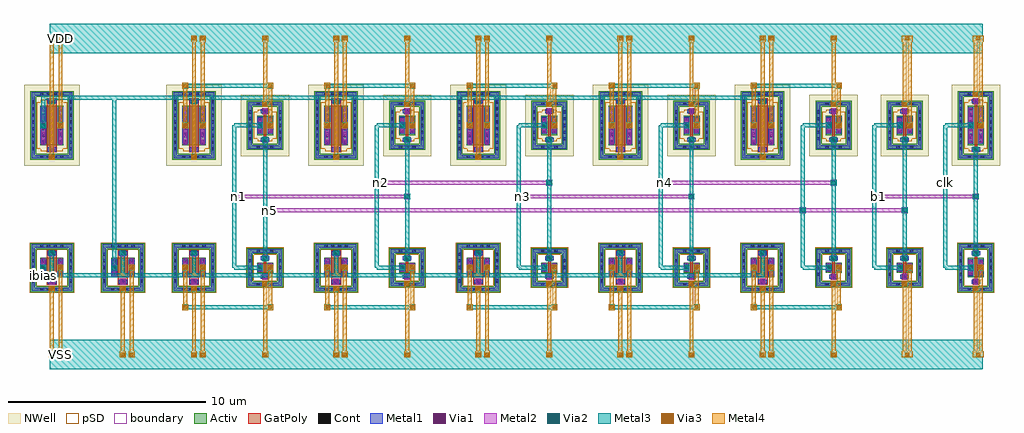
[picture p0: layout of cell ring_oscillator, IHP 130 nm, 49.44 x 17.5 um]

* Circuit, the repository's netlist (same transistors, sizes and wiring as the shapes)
** SPDX-FileCopyrightText: 2026 Davide Schiavone
** SPDX-License-Identifier: Apache-2.0 WITH SHL-2.1
**
** Current-starved ring oscillator (5 stages) — ihp-sg13g2, schematic-level (pre-layout).
** Frequency is set by a bias current injected at node 'ibias'. Higher current =>
** higher frequency (monotonic). 'ibias' is the NMOS-diode node (Vbn); a PMOS mirror
** derives Vbp so each stage is starved symmetrically on both rails.
**
** Ports:  VDD VSS ibias clk
**   ibias : current input (sink to VSS through the internal NMOS diode); = Vbn gate
**   clk   : buffered, full-swing oscillator output

*------------------------------------------------------------------------------
* One current-starved inverter stage.
*   VDD -[Mcp:gate=vbp]- pp -[Mp:gate=in]- out -[Mn:gate=in]- nn -[Mcn:gate=vbn]- VSS
.subckt cs_stage VDD VSS vbp vbn in out
XMcp pp  vbp VDD VDD sg13_lv_pmos w=2u   l=0.5u  ng=1
XMp  out in  pp  VDD sg13_lv_pmos w=1u   l=0.13u ng=1
XMn  out in  nn  VSS sg13_lv_nmos w=0.5u l=0.13u ng=1
XMcn nn  vbn VSS VSS sg13_lv_nmos w=1u   l=0.5u  ng=1
.ends cs_stage

*------------------------------------------------------------------------------
.subckt ring_oscillator VDD VSS ibias clk

* --- Bias generation ---
* NMOS diode: the injected ibias flows from node 'ibias' to VSS, setting Vbn(=ibias).
XMbn  ibias ibias VSS VSS sg13_lv_nmos w=1u l=0.5u ng=1
* NMOS mirror copies ibias and pulls it through a PMOS diode to set Vbp.
XMmir vbp   ibias VSS VSS sg13_lv_nmos w=1u l=0.5u ng=1
XMbp  vbp   vbp   VDD VDD sg13_lv_pmos w=2u l=0.5u ng=1

* --- 5 current-starved inverter stages (odd count => oscillates) ---
Xstg1 VDD VSS vbp ibias n5 n1 cs_stage
Xstg2 VDD VSS vbp ibias n1 n2 cs_stage
Xstg3 VDD VSS vbp ibias n2 n3 cs_stage
Xstg4 VDD VSS vbp ibias n3 n4 cs_stage
Xstg5 VDD VSS vbp ibias n4 n5 cs_stage

* --- Output buffer (full strength, not starved) to square up the clock ---
XMb1p b1  n5 VDD VDD sg13_lv_pmos w=1u   l=0.13u ng=1
XMb1n b1  n5 VSS VSS sg13_lv_nmos w=0.5u l=0.13u ng=1
XMb2p clk b1 VDD VDD sg13_lv_pmos w=2u   l=0.13u ng=1
XMb2n clk b1 VSS VSS sg13_lv_nmos w=1u   l=0.13u ng=1

.ends ring_oscillator

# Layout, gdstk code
import gdstk
lib = gdstk.Library(unit=1e-6, precision=1e-09)
def R(c, l, rs):  # rectangles x0, y0, x1, y1
    for r in rs: c.add(gdstk.rectangle(r[:2], r[2:], *l))
def A(c, l, x, y, w, h, nx, ny, dx, dy):  # array of equal rectangles
    R(c, l, [(x+i*dx, y+j*dy, x+i*dx+w, y+j*dy+h) for i in range(nx) for j in range(ny)])
Activ = (1, 0)
GatPoly = (5, 0)
Cont = (6, 0)
Metal1 = (8, 0)
Metal2 = (10, 0)
pSD = (14, 0)
Via1 = (19, 0)
Via2 = (29, 0)
Metal3 = (30, 0)
NWell = (31, 0)
Via3 = (49, 0)
Metal4 = (50, 0)
boundary = (189, 4)

sg13_lv_nmos_9r8nqu = lib.new_cell('sg13_lv_nmos_9R8NQU')
R(sg13_lv_nmos_9r8nqu, Activ, [(-1.1,-1.24,1.1,-0.94), (-1.1,-0.94,-0.8,0.94), (0.8,-0.94,1.1,0.94), (-0.59,-0.5,0.59,0.5), (-1.1,0.94,1.1,1.24)])
R(sg13_lv_nmos_9r8nqu, GatPoly, [(-0.25,-0.87,0.25,0.87)])
A(sg13_lv_nmos_9r8nqu, Cont, -0.59, -1.17, 0.16, 0.16, 4, 2, 0.34, 2.18)
A(sg13_lv_nmos_9r8nqu, Cont, -1.03, -0.76, 0.16, 0.16, 1, 5, 0, 0.34)
A(sg13_lv_nmos_9r8nqu, Cont, 0.87, -0.76, 0.16, 0.16, 1, 5, 0, 0.34)
A(sg13_lv_nmos_9r8nqu, Cont, -0.52, -0.42, 0.16, 0.16, 1, 3, 0, 0.34)
A(sg13_lv_nmos_9r8nqu, Cont, 0.36, -0.42, 0.16, 0.16, 1, 3, 0, 0.34)
R(sg13_lv_nmos_9r8nqu, Cont, [(-0.08,-0.8,0.08,-0.64), (-0.08,0.64,0.08,0.8)])
R(sg13_lv_nmos_9r8nqu, Metal1, [(-1.03,-1.17,1.03,-1.01), (-1.03,-1.01,-0.87,1.01), (0.87,-1.01,1.03,1.01), (-0.215,-0.825,0.215,-0.615), (-0.59,-0.43,-0.29,0.43), (0.29,-0.43,0.59,0.43), (-0.215,0.615,0.215,0.825), (-1.03,1.01,1.03,1.17)])
R(sg13_lv_nmos_9r8nqu, Metal2, [(-0.14,-0.865,0.14,-0.575), (-0.54,-0.47,-0.34,0.47), (0.34,-0.47,0.54,0.47), (-0.14,0.575,0.14,0.865)])
R(sg13_lv_nmos_9r8nqu, pSD, [(-1.13,-1.27,1.13,-0.91), (-1.13,-0.91,-0.77,0.91), (0.77,-0.91,1.13,0.91), (-1.13,0.91,1.13,1.27)])
R(sg13_lv_nmos_9r8nqu, Via1, [(-0.095,-0.815,0.095,-0.625), (-0.535,-0.3,-0.345,-0.11), (0.345,-0.3,0.535,-0.11), (-0.535,0.11,-0.345,0.3), (0.345,0.11,0.535,0.3), (-0.095,0.625,0.095,0.815)])
R(sg13_lv_nmos_9r8nqu, boundary, [(-0.95,-1.09,0.95,1.09)])
sg13_lv_nmos_9r8nqu.add(gdstk.Label('B', (0,-1.09), layer=8, texttype=25))
sg13_lv_nmos_9r8nqu.add(gdstk.Label('D', (-0.44,0), layer=8, texttype=25))
sg13_lv_nmos_9r8nqu.add(gdstk.Label('S', (0.44,0), layer=8, texttype=25))
sg13_lv_nmos_9r8nqu.add(gdstk.Label('G', (0,0.72), layer=8, texttype=25))

sg13_lv_nmos_gclu96 = lib.new_cell('sg13_lv_nmos_GCLU96')
R(sg13_lv_nmos_gclu96, Activ, [(-0.915,-0.99,0.915,-0.69), (-0.915,-0.69,-0.615,0.69), (0.615,-0.69,0.915,0.69), (-0.405,-0.25,0.405,0.25), (-0.915,0.69,0.915,0.99)])
R(sg13_lv_nmos_gclu96, GatPoly, [(-0.15,-0.62,0.15,-0.32), (-0.065,-0.32,0.065,0.32), (-0.15,0.32,0.15,0.62)])
A(sg13_lv_nmos_gclu96, Cont, -0.42, -0.92, 0.16, 0.16, 3, 2, 0.34, 1.68)
A(sg13_lv_nmos_gclu96, Cont, -0.845, -0.08, 0.16, 0.16, 4, 1, 0.51, 0)
R(sg13_lv_nmos_gclu96, Cont, [(-0.08,-0.55,0.08,-0.39), (-0.845,-0.42,-0.685,-0.26), (0.685,-0.42,0.845,-0.26), (-0.845,0.26,-0.685,0.42), (0.685,0.26,0.845,0.42), (-0.08,0.39,0.08,0.55)])
R(sg13_lv_nmos_gclu96, Metal1, [(-0.845,-0.92,0.845,-0.76), (-0.845,-0.76,-0.685,0.76), (0.685,-0.76,0.845,0.76), (-0.215,-0.575,0.215,-0.365), (-0.405,-0.18,-0.105,0.18), (0.105,-0.18,0.405,0.18), (-0.215,0.365,0.215,0.575), (-0.845,0.76,0.845,0.92)])
R(sg13_lv_nmos_gclu96, Metal2, [(-0.1,-0.615,0.1,-0.325), (-0.355,-0.22,-0.155,0.22), (0.155,-0.22,0.355,0.22), (-0.1,0.325,0.1,0.615)])
R(sg13_lv_nmos_gclu96, pSD, [(-0.945,-1.02,0.945,-0.66), (-0.945,-0.66,-0.585,0.66), (0.585,-0.66,0.945,0.66), (-0.945,0.66,0.945,1.02)])
R(sg13_lv_nmos_gclu96, Via1, [(-0.095,-0.565,0.095,-0.375), (-0.35,-0.095,-0.16,0.095), (0.16,-0.095,0.35,0.095), (-0.095,0.375,0.095,0.565)])
R(sg13_lv_nmos_gclu96, boundary, [(-0.765,-0.84,0.765,0.84)])
sg13_lv_nmos_gclu96.add(gdstk.Label('B', (0,-0.84), layer=8, texttype=25))
sg13_lv_nmos_gclu96.add(gdstk.Label('D', (-0.255,0), layer=8, texttype=25))
sg13_lv_nmos_gclu96.add(gdstk.Label('S', (0.255,0), layer=8, texttype=25))
sg13_lv_nmos_gclu96.add(gdstk.Label('G', (0,0.47), layer=8, texttype=25))

sg13_lv_nmos_5a8msm = lib.new_cell('sg13_lv_nmos_5A8MSM')
R(sg13_lv_nmos_5a8msm, Activ, [(-0.915,-1.24,0.915,-0.94), (-0.915,-0.94,-0.615,0.94), (0.615,-0.94,0.915,0.94), (-0.405,-0.5,0.405,0.5), (-0.915,0.94,0.915,1.24)])
R(sg13_lv_nmos_5a8msm, GatPoly, [(-0.15,-0.87,0.15,-0.57), (-0.065,-0.57,0.065,0.57), (-0.15,0.57,0.15,0.87)])
A(sg13_lv_nmos_5a8msm, Cont, -0.42, -1.17, 0.16, 0.16, 3, 2, 0.34, 2.18)
A(sg13_lv_nmos_5a8msm, Cont, -0.845, -0.42, 0.16, 0.16, 4, 3, 0.51, 0.34)
R(sg13_lv_nmos_5a8msm, Cont, [(-0.08,-0.8,0.08,-0.64), (-0.845,-0.76,-0.685,-0.6), (0.685,-0.76,0.845,-0.6), (-0.845,0.6,-0.685,0.76), (0.685,0.6,0.845,0.76), (-0.08,0.64,0.08,0.8)])
R(sg13_lv_nmos_5a8msm, Metal1, [(-0.845,-1.17,0.845,-1.01), (-0.845,-1.01,-0.685,1.01), (0.685,-1.01,0.845,1.01), (-0.215,-0.825,0.215,-0.615), (-0.385,-0.43,-0.125,0.43), (0.125,-0.43,0.385,0.43), (-0.215,0.615,0.215,0.825), (-0.845,1.01,0.845,1.17)])
R(sg13_lv_nmos_5a8msm, Metal2, [(-0.1,-0.865,0.1,-0.575), (-0.355,-0.365,-0.155,0.365), (0.155,-0.365,0.355,0.365), (-0.1,0.575,0.1,0.865)])
R(sg13_lv_nmos_5a8msm, pSD, [(-0.945,-1.27,0.945,-0.91), (-0.945,-0.91,-0.585,0.91), (0.585,-0.91,0.945,0.91), (-0.945,0.91,0.945,1.27)])
R(sg13_lv_nmos_5a8msm, Via1, [(-0.095,-0.815,0.095,-0.625), (-0.35,-0.3,-0.16,-0.11), (0.16,-0.3,0.35,-0.11), (-0.35,0.11,-0.16,0.3), (0.16,0.11,0.35,0.3), (-0.095,0.625,0.095,0.815)])
R(sg13_lv_nmos_5a8msm, boundary, [(-0.765,-1.09,0.765,1.09)])
sg13_lv_nmos_5a8msm.add(gdstk.Label('B', (0,-1.09), layer=8, texttype=25))
sg13_lv_nmos_5a8msm.add(gdstk.Label('D', (-0.255,0), layer=8, texttype=25))
sg13_lv_nmos_5a8msm.add(gdstk.Label('S', (0.255,0), layer=8, texttype=25))
sg13_lv_nmos_5a8msm.add(gdstk.Label('G', (0,0.72), layer=8, texttype=25))

sg13_lv_pmos_65lepc = lib.new_cell('sg13_lv_pmos_65LEPC')
R(sg13_lv_pmos_65lepc, Activ, [(-1.1,-1.74,1.1,-1.44), (-1.1,-1.44,-0.8,1.44), (0.8,-1.44,1.1,1.44), (-0.59,-1,0.59,1), (-1.1,1.44,1.1,1.74)])
R(sg13_lv_pmos_65lepc, GatPoly, [(-0.25,-1.37,0.25,1.37)])
A(sg13_lv_pmos_65lepc, Cont, -0.59, -1.67, 0.16, 0.16, 4, 2, 0.34, 3.18)
A(sg13_lv_pmos_65lepc, Cont, -1.03, -1.27, 0.16, 0.16, 1, 8, 0, 0.34)
A(sg13_lv_pmos_65lepc, Cont, 0.87, -1.27, 0.16, 0.16, 1, 8, 0, 0.34)
A(sg13_lv_pmos_65lepc, Cont, -0.52, -0.93, 0.16, 0.16, 1, 6, 0, 0.34)
A(sg13_lv_pmos_65lepc, Cont, 0.36, -0.93, 0.16, 0.16, 1, 6, 0, 0.34)
R(sg13_lv_pmos_65lepc, Cont, [(-0.08,-1.3,0.08,-1.14), (-0.08,1.14,0.08,1.3)])
R(sg13_lv_pmos_65lepc, Metal1, [(-1.03,-1.67,1.03,-1.51), (-1.03,-1.51,-0.87,1.51), (0.87,-1.51,1.03,1.51), (-0.215,-1.325,0.215,-1.115), (-0.59,-0.93,-0.29,0.93), (0.29,-0.93,0.59,0.93), (-0.215,1.115,0.215,1.325), (-1.03,1.51,1.03,1.67)])
R(sg13_lv_pmos_65lepc, Metal2, [(-0.14,-1.365,0.14,-1.075), (-0.54,-0.97,-0.34,0.97), (0.34,-0.97,0.54,0.97), (-0.14,1.075,0.14,1.365)])
R(sg13_lv_pmos_65lepc, pSD, [(-0.55,-1.3,0.55,-1.18), (-0.77,-1.18,0.77,1.18), (-0.55,1.18,0.55,1.3)])
A(sg13_lv_pmos_65lepc, Via1, -0.535, -0.915, 0.19, 0.19, 1, 5, 0, 0.41)
A(sg13_lv_pmos_65lepc, Via1, 0.345, -0.915, 0.19, 0.19, 1, 5, 0, 0.41)
R(sg13_lv_pmos_65lepc, Via1, [(-0.095,-1.315,0.095,-1.125), (-0.095,1.125,0.095,1.315)])
R(sg13_lv_pmos_65lepc, NWell, [(-1.41,-2.05,1.41,2.05)])
R(sg13_lv_pmos_65lepc, boundary, [(-0.95,-1.59,0.95,1.59)])
sg13_lv_pmos_65lepc.add(gdstk.Label('B', (0,-1.59), layer=8, texttype=25))
sg13_lv_pmos_65lepc.add(gdstk.Label('D', (-0.44,0), layer=8, texttype=25))
sg13_lv_pmos_65lepc.add(gdstk.Label('S', (0.44,0), layer=8, texttype=25))
sg13_lv_pmos_65lepc.add(gdstk.Label('G', (0,1.22), layer=8, texttype=25))

sg13_lv_pmos_2m8tcd = lib.new_cell('sg13_lv_pmos_2M8TCD')
R(sg13_lv_pmos_2m8tcd, Activ, [(-0.915,-1.24,0.915,-0.94), (-0.915,-0.94,-0.615,0.94), (0.615,-0.94,0.915,0.94), (-0.405,-0.5,0.405,0.5), (-0.915,0.94,0.915,1.24)])
R(sg13_lv_pmos_2m8tcd, GatPoly, [(-0.15,-0.87,0.15,-0.57), (-0.065,-0.57,0.065,0.57), (-0.15,0.57,0.15,0.87)])
A(sg13_lv_pmos_2m8tcd, Cont, -0.42, -1.17, 0.16, 0.16, 3, 2, 0.34, 2.18)
A(sg13_lv_pmos_2m8tcd, Cont, -0.845, -0.42, 0.16, 0.16, 4, 3, 0.51, 0.34)
R(sg13_lv_pmos_2m8tcd, Cont, [(-0.08,-0.8,0.08,-0.64), (-0.845,-0.76,-0.685,-0.6), (0.685,-0.76,0.845,-0.6), (-0.845,0.6,-0.685,0.76), (0.685,0.6,0.845,0.76), (-0.08,0.64,0.08,0.8)])
R(sg13_lv_pmos_2m8tcd, Metal1, [(-0.845,-1.17,0.845,-1.01), (-0.845,-1.01,-0.685,1.01), (0.685,-1.01,0.845,1.01), (-0.215,-0.825,0.215,-0.615), (-0.385,-0.43,-0.125,0.43), (0.125,-0.43,0.385,0.43), (-0.215,0.615,0.215,0.825), (-0.845,1.01,0.845,1.17)])
R(sg13_lv_pmos_2m8tcd, Metal2, [(-0.1,-0.865,0.1,-0.575), (-0.355,-0.365,-0.155,0.365), (0.155,-0.365,0.355,0.365), (-0.1,0.575,0.1,0.865)])
R(sg13_lv_pmos_2m8tcd, pSD, [(-0.365,-0.8,0.365,-0.68), (-0.585,-0.68,0.585,0.68), (-0.365,0.68,0.365,0.8)])
R(sg13_lv_pmos_2m8tcd, Via1, [(-0.095,-0.815,0.095,-0.625), (-0.35,-0.3,-0.16,-0.11), (0.16,-0.3,0.35,-0.11), (-0.35,0.11,-0.16,0.3), (0.16,0.11,0.35,0.3), (-0.095,0.625,0.095,0.815)])
R(sg13_lv_pmos_2m8tcd, NWell, [(-1.225,-1.55,1.225,1.55)])
R(sg13_lv_pmos_2m8tcd, boundary, [(-0.765,-1.09,0.765,1.09)])
sg13_lv_pmos_2m8tcd.add(gdstk.Label('B', (0,-1.09), layer=8, texttype=25))
sg13_lv_pmos_2m8tcd.add(gdstk.Label('D', (-0.255,0), layer=8, texttype=25))
sg13_lv_pmos_2m8tcd.add(gdstk.Label('S', (0.255,0), layer=8, texttype=25))
sg13_lv_pmos_2m8tcd.add(gdstk.Label('G', (0,0.72), layer=8, texttype=25))

sg13_lv_pmos_nc374q = lib.new_cell('sg13_lv_pmos_NC374Q')
R(sg13_lv_pmos_nc374q, Activ, [(-0.915,-1.74,0.915,-1.44), (-0.915,-1.44,-0.615,1.44), (0.615,-1.44,0.915,1.44), (-0.405,-1,0.405,1), (-0.915,1.44,0.915,1.74)])
R(sg13_lv_pmos_nc374q, GatPoly, [(-0.15,-1.37,0.15,-1.07), (-0.065,-1.07,0.065,1.07), (-0.15,1.07,0.15,1.37)])
A(sg13_lv_pmos_nc374q, Cont, -0.42, -1.67, 0.16, 0.16, 3, 2, 0.34, 3.18)
A(sg13_lv_pmos_nc374q, Cont, -0.845, -0.93, 0.16, 0.16, 4, 6, 0.51, 0.34)
R(sg13_lv_pmos_nc374q, Cont, [(-0.08,-1.3,0.08,-1.14), (-0.845,-1.27,-0.685,-1.11), (0.685,-1.27,0.845,-1.11), (-0.845,1.11,-0.685,1.27), (0.685,1.11,0.845,1.27), (-0.08,1.14,0.08,1.3)])
R(sg13_lv_pmos_nc374q, Metal1, [(-0.845,-1.67,0.845,-1.51), (-0.845,-1.51,-0.685,1.51), (0.685,-1.51,0.845,1.51), (-0.215,-1.325,0.215,-1.115), (-0.385,-0.93,-0.125,0.93), (0.125,-0.93,0.385,0.93), (-0.215,1.115,0.215,1.325), (-0.845,1.51,0.845,1.67)])
R(sg13_lv_pmos_nc374q, Metal2, [(-0.1,-1.365,0.1,-1.075), (-0.355,-0.865,-0.155,0.865), (0.155,-0.865,0.355,0.865), (-0.1,1.075,0.1,1.365)])
R(sg13_lv_pmos_nc374q, pSD, [(-0.365,-1.3,0.365,-1.18), (-0.585,-1.18,0.585,1.18), (-0.365,1.18,0.365,1.3)])
A(sg13_lv_pmos_nc374q, Via1, -0.35, -0.71, 0.19, 0.19, 1, 4, 0, 0.41)
A(sg13_lv_pmos_nc374q, Via1, 0.16, -0.71, 0.19, 0.19, 1, 4, 0, 0.41)
R(sg13_lv_pmos_nc374q, Via1, [(-0.095,-1.315,0.095,-1.125), (-0.095,1.125,0.095,1.315)])
R(sg13_lv_pmos_nc374q, NWell, [(-1.225,-2.05,1.225,2.05)])
R(sg13_lv_pmos_nc374q, boundary, [(-0.765,-1.59,0.765,1.59)])
sg13_lv_pmos_nc374q.add(gdstk.Label('B', (0,-1.59), layer=8, texttype=25))
sg13_lv_pmos_nc374q.add(gdstk.Label('D', (-0.255,0), layer=8, texttype=25))
sg13_lv_pmos_nc374q.add(gdstk.Label('S', (0.255,0), layer=8, texttype=25))
sg13_lv_pmos_nc374q.add(gdstk.Label('G', (0,1.22), layer=8, texttype=25))

ring_oscillator = lib.new_cell('ring_oscillator')
A(ring_oscillator, Metal1, -0.15, -4.84, 0.3, 0.3, 3, 2, 3.6, 1.81)
A(ring_oscillator, Metal1, 14.25, -4.84, 0.3, 0.3, 4, 2, 7.2, 1.81)
A(ring_oscillator, Metal1, 10.65, -4.59, 0.3, 0.3, 5, 2, 7.2, 1.31)
A(ring_oscillator, Metal1, -0.15, 1.86, 0.3, 0.3, 6, 2, 7.2, 2.81)
A(ring_oscillator, Metal1, 10.65, 2.73, 0.3, 0.3, 5, 2, 7.2, 1.81)
R(ring_oscillator, Metal1, [(46.65,-4.84,46.95,-4.54), (43.05,-4.59,43.35,-4.29), (-0.59,-3.75,-0.29,-3.45), (0.29,-3.75,0.59,-3.45), (3.01,-3.75,3.31,-3.45), (3.89,-3.75,4.19,-3.45), (6.61,-3.75,6.91,-3.45), (7.49,-3.75,7.79,-3.45), (10.395,-3.75,10.695,-3.45), (10.905,-3.75,11.205,-3.45), (13.81,-3.75,14.11,-3.45), (14.69,-3.75,14.99,-3.45), (17.595,-3.75,17.895,-3.45), (18.105,-3.75,18.405,-3.45), (21.01,-3.75,21.31,-3.45), (21.89,-3.75,22.19,-3.45), (24.795,-3.75,25.095,-3.45), (25.305,-3.75,25.605,-3.45), (28.21,-3.75,28.51,-3.45), (29.09,-3.75,29.39,-3.45), (31.995,-3.75,32.295,-3.45), (32.505,-3.75,32.805,-3.45), (35.41,-3.75,35.71,-3.45), (36.29,-3.75,36.59,-3.45), (39.195,-3.75,39.495,-3.45), (39.705,-3.75,40.005,-3.45), (42.795,-3.75,43.095,-3.45), (43.305,-3.75,43.605,-3.45), (46.395,-3.75,46.695,-3.45), (46.905,-3.75,47.205,-3.45), (43.05,-3.28,43.35,-2.98), (46.65,-3.03,46.95,-2.73), (46.65,2.23,46.95,2.53), (43.05,2.73,43.35,3.03), (-0.59,3.45,-0.29,3.75), (0.29,3.45,0.59,3.75), (6.61,3.45,6.91,3.75), (7.49,3.45,7.79,3.75), (10.395,3.45,10.695,3.75), (10.905,3.45,11.205,3.75), (13.81,3.45,14.11,3.75), (14.69,3.45,14.99,3.75), (17.595,3.45,17.895,3.75), (18.105,3.45,18.405,3.75), (21.01,3.45,21.31,3.75), (21.89,3.45,22.19,3.75), (24.795,3.45,25.095,3.75), (25.305,3.45,25.605,3.75), (28.21,3.45,28.51,3.75), (29.09,3.45,29.39,3.75), (31.995,3.45,32.295,3.75), (32.505,3.45,32.805,3.75), (35.41,3.45,35.71,3.75), (36.29,3.45,36.59,3.75), (39.195,3.45,39.495,3.75), (39.705,3.45,40.005,3.75), (42.795,3.45,43.095,3.75), (43.305,3.45,43.605,3.75), (46.395,3.45,46.695,3.75), (46.905,3.45,47.205,3.75), (43.05,4.54,43.35,4.84), (46.65,5.04,46.95,5.34)])
A(ring_oscillator, Metal2, -0.15, -4.84, 0.3, 0.3, 3, 2, 3.6, 1.81)
A(ring_oscillator, Metal2, 14.25, -4.84, 0.3, 0.3, 4, 2, 7.2, 1.81)
A(ring_oscillator, Metal2, 10.65, -4.59, 0.3, 0.3, 5, 2, 7.2, 1.31)
A(ring_oscillator, Metal2, -0.15, 1.86, 0.3, 0.3, 6, 2, 7.2, 2.81)
A(ring_oscillator, Metal2, 10.65, 2.73, 0.3, 0.3, 5, 2, 7.2, 1.81)
R(ring_oscillator, Metal2, [(46.65,-4.84,46.95,-4.54), (43.05,-4.59,43.35,-4.29), (-0.59,-3.75,-0.29,-3.45), (0.29,-3.75,0.59,-3.45), (3.01,-3.75,3.31,-3.45), (3.89,-3.75,4.19,-3.45), (6.61,-3.75,6.91,-3.45), (7.49,-3.75,7.79,-3.45), (10.395,-3.75,10.695,-3.45), (10.905,-3.75,11.205,-3.45), (13.81,-3.75,14.11,-3.45), (14.69,-3.75,14.99,-3.45), (17.595,-3.75,17.895,-3.45), (18.105,-3.75,18.405,-3.45), (21.01,-3.75,21.31,-3.45), (21.89,-3.75,22.19,-3.45), (24.795,-3.75,25.095,-3.45), (25.305,-3.75,25.605,-3.45), (28.21,-3.75,28.51,-3.45), (29.09,-3.75,29.39,-3.45), (31.995,-3.75,32.295,-3.45), (32.505,-3.75,32.805,-3.45), (35.41,-3.75,35.71,-3.45), (36.29,-3.75,36.59,-3.45), (39.195,-3.75,39.495,-3.45), (39.705,-3.75,40.005,-3.45), (42.795,-3.75,43.095,-3.45), (43.305,-3.75,43.605,-3.45), (46.395,-3.75,46.695,-3.45), (46.905,-3.75,47.205,-3.45), (43.05,-3.28,43.35,-2.98), (46.65,-3.03,46.95,-2.73), (10.65,-0.85,10.95,-0.8), (37.89,-0.85,38.19,-0.8), (43.05,-0.85,43.35,-0.8), (10.65,-0.8,43.35,-0.6), (10.65,-0.6,10.95,-0.55), (37.89,-0.6,38.19,-0.55), (43.05,-0.6,43.35,-0.55), (9.09,-0.15,9.39,-0.1), (17.85,-0.15,18.15,-0.1), (23.5,-0.15,23.8,-0.1), (32.25,-0.15,32.55,-0.1), (41.5,-0.15,41.8,-0.1), (46.65,-0.15,46.95,-0.1), (9.09,-0.1,18.15,0.1), (23.5,-0.1,32.55,0.1), (41.5,-0.1,46.95,0.1), (9.09,0.1,9.39,0.15), (17.85,0.1,18.15,0.15), (23.5,0.1,23.8,0.15), (32.25,0.1,32.55,0.15), (41.5,0.1,41.8,0.15), (46.65,0.1,46.95,0.15), (16.3,0.55,16.6,0.6), (25.05,0.55,25.35,0.6), (30.69,0.55,30.99,0.6), (39.45,0.55,39.75,0.6), (45.1,0.55,45.4,0.85), (16.3,0.6,25.35,0.8), (30.69,0.6,39.75,0.8), (16.3,0.8,16.6,0.85), (25.05,0.8,25.35,0.85), (30.69,0.8,30.99,0.85), (39.45,0.8,39.75,0.85), (46.65,2.23,46.95,2.53), (43.05,2.73,43.35,3.03), (-0.59,3.45,-0.29,3.75), (0.29,3.45,0.59,3.75), (6.61,3.45,6.91,3.75), (7.49,3.45,7.79,3.75), (10.395,3.45,10.695,3.75), (10.905,3.45,11.205,3.75), (13.81,3.45,14.11,3.75), (14.69,3.45,14.99,3.75), (17.595,3.45,17.895,3.75), (18.105,3.45,18.405,3.75), (21.01,3.45,21.31,3.75), (21.89,3.45,22.19,3.75), (24.795,3.45,25.095,3.75), (25.305,3.45,25.605,3.75), (28.21,3.45,28.51,3.75), (29.09,3.45,29.39,3.75), (31.995,3.45,32.295,3.75), (32.505,3.45,32.805,3.75), (35.41,3.45,35.71,3.75), (36.29,3.45,36.59,3.75), (39.195,3.45,39.495,3.75), (39.705,3.45,40.005,3.75), (42.795,3.45,43.095,3.75), (43.305,3.45,43.605,3.75), (46.395,3.45,46.695,3.75), (46.905,3.45,47.205,3.75), (43.05,4.54,43.35,4.84), (46.65,5.04,46.95,5.34)])
A(ring_oscillator, Via1, -0.095, -4.785, 0.19, 0.19, 3, 2, 3.6, 1.81)
A(ring_oscillator, Via1, 14.305, -4.785, 0.19, 0.19, 4, 2, 7.2, 1.81)
A(ring_oscillator, Via1, 10.705, -4.535, 0.19, 0.19, 5, 2, 7.2, 1.31)
A(ring_oscillator, Via1, -0.095, 1.915, 0.19, 0.19, 6, 2, 7.2, 2.81)
A(ring_oscillator, Via1, 10.705, 2.785, 0.19, 0.19, 5, 2, 7.2, 1.81)
R(ring_oscillator, Via1, [(46.705,-4.785,46.895,-4.595), (43.105,-4.535,43.295,-4.345), (-0.535,-3.695,-0.345,-3.505), (0.345,-3.695,0.535,-3.505), (3.065,-3.695,3.255,-3.505), (3.945,-3.695,4.135,-3.505), (6.665,-3.695,6.855,-3.505), (7.545,-3.695,7.735,-3.505), (10.45,-3.695,10.64,-3.505), (10.96,-3.695,11.15,-3.505), (13.865,-3.695,14.055,-3.505), (14.745,-3.695,14.935,-3.505), (17.65,-3.695,17.84,-3.505), (18.16,-3.695,18.35,-3.505), (21.065,-3.695,21.255,-3.505), (21.945,-3.695,22.135,-3.505), (24.85,-3.695,25.04,-3.505), (25.36,-3.695,25.55,-3.505), (28.265,-3.695,28.455,-3.505), (29.145,-3.695,29.335,-3.505), (32.05,-3.695,32.24,-3.505), (32.56,-3.695,32.75,-3.505), (35.465,-3.695,35.655,-3.505), (36.345,-3.695,36.535,-3.505), (39.25,-3.695,39.44,-3.505), (39.76,-3.695,39.95,-3.505), (42.85,-3.695,43.04,-3.505), (43.36,-3.695,43.55,-3.505), (46.45,-3.695,46.64,-3.505), (46.96,-3.695,47.15,-3.505), (43.105,-3.225,43.295,-3.035), (46.705,-2.975,46.895,-2.785), (46.705,2.285,46.895,2.475), (43.105,2.785,43.295,2.975), (-0.535,3.505,-0.345,3.695), (0.345,3.505,0.535,3.695), (6.665,3.505,6.855,3.695), (7.545,3.505,7.735,3.695), (10.45,3.505,10.64,3.695), (10.96,3.505,11.15,3.695), (13.865,3.505,14.055,3.695), (14.745,3.505,14.935,3.695), (17.65,3.505,17.84,3.695), (18.16,3.505,18.35,3.695), (21.065,3.505,21.255,3.695), (21.945,3.505,22.135,3.695), (24.85,3.505,25.04,3.695), (25.36,3.505,25.55,3.695), (28.265,3.505,28.455,3.695), (29.145,3.505,29.335,3.695), (32.05,3.505,32.24,3.695), (32.56,3.505,32.75,3.695), (35.465,3.505,35.655,3.695), (36.345,3.505,36.535,3.695), (39.25,3.505,39.44,3.695), (39.76,3.505,39.95,3.695), (42.85,3.505,43.04,3.695), (43.36,3.505,43.55,3.695), (46.45,3.505,46.64,3.695), (46.96,3.505,47.15,3.695), (43.105,4.595,43.295,4.785), (46.705,5.095,46.895,5.285)])
A(ring_oscillator, Via2, -0.095, -4.785, 0.19, 0.19, 3, 2, 3.6, 1.81)
A(ring_oscillator, Via2, 14.305, -4.785, 0.19, 0.19, 4, 2, 7.2, 1.81)
A(ring_oscillator, Via2, 10.705, -4.535, 0.19, 0.19, 5, 2, 7.2, 1.31)
A(ring_oscillator, Via2, -0.095, 1.915, 0.19, 0.19, 6, 2, 7.2, 2.81)
A(ring_oscillator, Via2, 10.705, 2.785, 0.19, 0.19, 5, 2, 7.2, 1.81)
R(ring_oscillator, Via2, [(46.705,-4.785,46.895,-4.595), (43.105,-4.535,43.295,-4.345), (-0.535,-3.695,-0.345,-3.505), (0.345,-3.695,0.535,-3.505), (3.065,-3.695,3.255,-3.505), (3.945,-3.695,4.135,-3.505), (6.665,-3.695,6.855,-3.505), (7.545,-3.695,7.735,-3.505), (10.45,-3.695,10.64,-3.505), (10.96,-3.695,11.15,-3.505), (13.865,-3.695,14.055,-3.505), (14.745,-3.695,14.935,-3.505), (17.65,-3.695,17.84,-3.505), (18.16,-3.695,18.35,-3.505), (21.065,-3.695,21.255,-3.505), (21.945,-3.695,22.135,-3.505), (24.85,-3.695,25.04,-3.505), (25.36,-3.695,25.55,-3.505), (28.265,-3.695,28.455,-3.505), (29.145,-3.695,29.335,-3.505), (32.05,-3.695,32.24,-3.505), (32.56,-3.695,32.75,-3.505), (35.465,-3.695,35.655,-3.505), (36.345,-3.695,36.535,-3.505), (39.25,-3.695,39.44,-3.505), (39.76,-3.695,39.95,-3.505), (42.85,-3.695,43.04,-3.505), (43.36,-3.695,43.55,-3.505), (46.45,-3.695,46.64,-3.505), (46.96,-3.695,47.15,-3.505), (43.105,-3.225,43.295,-3.035), (46.705,-2.975,46.895,-2.785), (10.705,-0.795,10.895,-0.605), (37.945,-0.795,38.135,-0.605), (43.105,-0.795,43.295,-0.605), (9.145,-0.095,9.335,0.095), (17.905,-0.095,18.095,0.095), (23.555,-0.095,23.745,0.095), (32.305,-0.095,32.495,0.095), (41.555,-0.095,41.745,0.095), (46.705,-0.095,46.895,0.095), (16.355,0.605,16.545,0.795), (25.105,0.605,25.295,0.795), (30.745,0.605,30.935,0.795), (39.505,0.605,39.695,0.795), (45.155,0.605,45.345,0.795), (46.705,2.285,46.895,2.475), (43.105,2.785,43.295,2.975), (-0.535,3.505,-0.345,3.695), (0.345,3.505,0.535,3.695), (6.665,3.505,6.855,3.695), (7.545,3.505,7.735,3.695), (10.45,3.505,10.64,3.695), (10.96,3.505,11.15,3.695), (13.865,3.505,14.055,3.695), (14.745,3.505,14.935,3.695), (17.65,3.505,17.84,3.695), (18.16,3.505,18.35,3.695), (21.065,3.505,21.255,3.695), (21.945,3.505,22.135,3.695), (24.85,3.505,25.04,3.695), (25.36,3.505,25.55,3.695), (28.265,3.505,28.455,3.695), (29.145,3.505,29.335,3.695), (32.05,3.505,32.24,3.695), (32.56,3.505,32.75,3.695), (35.465,3.505,35.655,3.695), (36.345,3.505,36.535,3.695), (39.25,3.505,39.44,3.695), (39.76,3.505,39.95,3.695), (42.85,3.505,43.04,3.695), (43.36,3.505,43.55,3.695), (46.45,3.505,46.64,3.695), (46.96,3.505,47.15,3.695), (43.105,4.595,43.295,4.785), (46.705,5.095,46.895,5.285)])
A(ring_oscillator, Metal3, 6.61, -5.7, 4.595, 0.2, 5, 2, 7.2, 11.2)
A(ring_oscillator, Metal3, -0.15, -4.84, 0.3, 0.3, 3, 2, 3.6, 1.81)
A(ring_oscillator, Metal3, 14.25, -4.84, 0.3, 0.3, 4, 2, 7.2, 1.81)
A(ring_oscillator, Metal3, 10.65, -4.59, 0.3, 0.3, 5, 2, 7.2, 1.31)
A(ring_oscillator, Metal3, -0.1, -3.9, 0.2, 0.87, 3, 1, 3.6, 0)
A(ring_oscillator, Metal3, 14.3, -3.9, 0.2, 0.87, 4, 1, 7.2, 0)
A(ring_oscillator, Metal3, 10.395, -3.75, 0.3, 0.05, 5, 2, 7.2, 0.25)
A(ring_oscillator, Metal3, 39.705, -3.75, 0.3, 0.3, 3, 2, 3.6, 7.2)
A(ring_oscillator, Metal3, -0.15, 1.86, 0.3, 0.3, 6, 1, 7.2, 0)
A(ring_oscillator, Metal3, 10.65, 2.73, 0.3, 0.3, 5, 2, 7.2, 1.81)
A(ring_oscillator, Metal3, 10.395, 3.45, 0.3, 0.05, 5, 2, 7.2, 0.25)
A(ring_oscillator, Metal3, -0.15, 4.67, 0.3, 0.23, 6, 1, 7.2, 0)
R(ring_oscillator, Metal3, [(-0.1,-8.75,47.155,-8.15), (-0.15,-8.15,47.205,-7.85), (-0.1,-7.85,47.155,-7.25), (6.61,-5.75,6.91,-5.7), (10.905,-5.75,11.205,-5.7), (13.81,-5.75,14.11,-5.7), (18.105,-5.75,18.405,-5.7), (21.01,-5.75,21.31,-5.7), (25.305,-5.75,25.605,-5.7), (28.21,-5.75,28.51,-5.7), (32.505,-5.75,32.805,-5.7), (35.41,-5.75,35.71,-5.7), (39.705,-5.75,40.005,-5.7), (6.61,-5.5,6.91,-5.45), (10.905,-5.5,11.205,-5.45), (13.81,-5.5,14.11,-5.45), (18.105,-5.5,18.405,-5.45), (21.01,-5.5,21.31,-5.45), (25.305,-5.5,25.605,-5.45), (28.21,-5.5,28.51,-5.45), (32.505,-5.5,32.805,-5.45), (35.41,-5.5,35.71,-5.45), (39.705,-5.5,40.005,-5.45), (46.65,-4.84,46.95,-4.54), (43.05,-4.59,43.35,-4.29), (-0.54,-4.1,36.1,-3.9), (-0.54,-3.9,-0.34,-3.75), (-0.59,-3.75,-0.29,-3.45), (0.29,-3.75,0.59,-3.45), (3.01,-3.75,3.31,-3.45), (3.89,-3.75,4.19,-3.45), (6.61,-3.75,6.91,-3.45), (7.49,-3.75,7.79,-3.45), (10.905,-3.75,11.205,-3.45), (13.81,-3.75,14.11,-3.45), (14.69,-3.75,14.99,-3.45), (18.105,-3.75,18.405,-3.45), (21.01,-3.75,21.31,-3.45), (21.89,-3.75,22.19,-3.45), (25.305,-3.75,25.605,-3.45), (28.21,-3.75,28.51,-3.45), (29.09,-3.75,29.39,-3.45), (32.505,-3.75,32.805,-3.45), (35.41,-3.75,35.71,-3.45), (36.29,-3.75,36.59,-3.45), (42.795,-3.75,43.095,-3.7), (46.395,-3.75,46.695,-3.7), (9.24,-3.7,10.695,-3.6), (16.45,-3.7,17.895,-3.6), (23.65,-3.7,25.095,-3.6), (30.84,-3.7,32.295,-3.6), (38.04,-3.7,39.495,-3.6), (41.65,-3.7,43.095,-3.6), (45.25,-3.7,46.695,-3.6), (9.14,-3.6,10.695,-3.5), (16.35,-3.6,17.895,-3.5), (23.55,-3.6,25.095,-3.5), (30.74,-3.6,32.295,-3.5), (37.94,-3.6,39.495,-3.5), (41.55,-3.6,43.095,-3.5), (45.15,-3.6,46.695,-3.5), (9.14,-3.5,9.34,-0.15), (16.35,-3.5,16.55,0.55), (23.55,-3.5,23.75,-0.15), (30.74,-3.5,30.94,0.55), (37.94,-3.5,38.14,-0.85), (41.55,-3.5,41.75,-0.15), (42.795,-3.5,43.095,-3.45), (45.15,-3.5,45.35,0.55), (46.395,-3.5,46.695,-3.45), (3.06,-3.45,3.26,4.9), (43.05,-3.28,43.35,-2.98), (46.65,-3.03,46.95,-2.73), (10.7,-2.98,10.9,-0.85), (17.9,-2.98,18.1,-0.15), (25.1,-2.98,25.3,0.55), (32.3,-2.98,32.5,-0.15), (39.5,-2.98,39.7,0.55), (43.1,-2.98,43.3,-0.85), (46.7,-2.73,46.9,-0.15), (10.65,-0.85,10.95,-0.55), (37.89,-0.85,38.19,-0.55), (43.05,-0.85,43.35,-0.55), (10.7,-0.55,10.9,2.73), (37.94,-0.55,38.14,3.5), (43.1,-0.55,43.3,2.73), (9.09,-0.15,9.39,0.15), (17.85,-0.15,18.15,0.15), (23.5,-0.15,23.8,0.15), (32.25,-0.15,32.55,0.15), (41.5,-0.15,41.8,0.15), (46.65,-0.15,46.95,0.15), (9.14,0.15,9.34,3.5), (17.9,0.15,18.1,2.73), (23.55,0.15,23.75,3.5), (32.3,0.15,32.5,2.73), (41.55,0.15,41.75,3.5), (46.7,0.15,46.9,2.23), (16.3,0.55,16.6,0.85), (25.05,0.55,25.35,0.85), (30.69,0.55,30.99,0.85), (39.45,0.55,39.75,0.85), (45.1,0.55,45.4,0.85), (16.35,0.85,16.55,3.5), (25.1,0.85,25.3,2.73), (30.74,0.85,30.94,3.5), (39.5,0.85,39.7,2.73), (45.15,0.85,45.35,3.5), (46.65,2.23,46.95,2.53), (43.05,2.73,43.35,3.03), (-0.59,3.45,-0.29,3.75), (0.29,3.45,0.59,3.75), (6.61,3.45,6.91,3.75), (7.49,3.45,7.79,3.75), (10.905,3.45,11.205,3.75), (13.81,3.45,14.11,3.75), (14.69,3.45,14.99,3.75), (18.105,3.45,18.405,3.75), (21.01,3.45,21.31,3.75), (21.89,3.45,22.19,3.75), (25.305,3.45,25.605,3.75), (28.21,3.45,28.51,3.75), (29.09,3.45,29.39,3.75), (32.505,3.45,32.805,3.75), (35.41,3.45,35.71,3.75), (36.29,3.45,36.59,3.75), (42.795,3.45,43.095,3.5), (46.395,3.45,46.695,3.5), (9.14,3.5,10.695,3.6), (16.35,3.5,17.895,3.6), (23.55,3.5,25.095,3.6), (30.74,3.5,32.295,3.6), (37.94,3.5,39.495,3.6), (41.55,3.5,43.095,3.6), (45.15,3.5,46.695,3.6), (9.24,3.6,10.695,3.7), (16.45,3.6,17.895,3.7), (23.65,3.6,25.095,3.7), (30.84,3.6,32.295,3.7), (38.04,3.6,39.495,3.7), (41.65,3.6,43.095,3.7), (45.25,3.6,46.695,3.7), (42.795,3.7,43.095,3.75), (46.395,3.7,46.695,3.75), (-0.54,3.75,-0.34,4.9), (43.05,4.54,43.35,4.84), (-0.54,4.9,36.15,4.97), (-0.54,4.97,36.1,5.1), (46.65,5.04,46.95,5.34), (6.61,5.45,6.91,5.5), (10.905,5.45,11.205,5.5), (13.81,5.45,14.11,5.5), (18.105,5.45,18.405,5.5), (21.01,5.45,21.31,5.5), (25.305,5.45,25.605,5.5), (28.21,5.45,28.51,5.5), (32.505,5.45,32.805,5.5), (35.41,5.45,35.71,5.5), (39.705,5.45,40.005,5.5), (6.61,5.7,6.91,5.75), (10.905,5.7,11.205,5.75), (13.81,5.7,14.11,5.75), (18.105,5.7,18.405,5.75), (21.01,5.7,21.31,5.75), (25.305,5.7,25.605,5.75), (28.21,5.7,28.51,5.75), (32.505,5.7,32.805,5.75), (35.41,5.7,35.71,5.75), (39.705,5.7,40.005,5.75), (-0.1,7.25,47.155,7.85), (-0.15,7.85,47.205,8.15), (-0.1,8.15,47.155,8.75)])
A(ring_oscillator, Via3, -0.095, -4.785, 0.19, 0.19, 3, 1, 3.6, 0)
A(ring_oscillator, Via3, 14.305, -4.785, 0.19, 0.19, 4, 1, 7.2, 0)
A(ring_oscillator, Via3, 10.705, -4.535, 0.19, 0.19, 5, 2, 7.2, 9.13)
A(ring_oscillator, Via3, 39.76, -3.695, 0.19, 0.19, 3, 2, 3.6, 7.2)
A(ring_oscillator, Via3, -0.095, 1.915, 0.19, 0.19, 6, 1, 7.2, 0)
R(ring_oscillator, Via3, [(-0.095,-8.095,0.095,-7.905), (0.345,-8.095,0.535,-7.905), (3.505,-8.095,3.695,-7.905), (3.945,-8.095,4.135,-7.905), (7.105,-8.095,7.295,-7.905), (7.545,-8.095,7.735,-7.905), (10.705,-8.095,10.895,-7.905), (14.305,-8.095,14.495,-7.905), (14.745,-8.095,14.935,-7.905), (17.905,-8.095,18.095,-7.905), (21.505,-8.095,21.695,-7.905), (21.945,-8.095,22.135,-7.905), (25.105,-8.095,25.295,-7.905), (28.705,-8.095,28.895,-7.905), (29.145,-8.095,29.335,-7.905), (32.305,-8.095,32.495,-7.905), (35.905,-8.095,36.095,-7.905), (36.345,-8.095,36.535,-7.905), (39.505,-8.095,39.695,-7.905), (43.23,-8.095,43.42,-7.905), (46.83,-8.095,47.02,-7.905), (6.665,-5.695,6.855,-5.505), (10.96,-5.695,11.15,-5.505), (13.865,-5.695,14.055,-5.505), (18.16,-5.695,18.35,-5.505), (21.065,-5.695,21.255,-5.505), (25.36,-5.695,25.55,-5.505), (28.265,-5.695,28.455,-5.505), (32.56,-5.695,32.75,-5.505), (35.465,-5.695,35.655,-5.505), (39.76,-5.695,39.95,-5.505), (46.705,-4.785,46.895,-4.595), (43.105,-4.535,43.295,-4.345), (0.345,-3.695,0.535,-3.505), (3.945,-3.695,4.135,-3.505), (6.665,-3.695,6.855,-3.505), (7.545,-3.695,7.735,-3.505), (10.96,-3.695,11.15,-3.505), (13.865,-3.695,14.055,-3.505), (14.745,-3.695,14.935,-3.505), (18.16,-3.695,18.35,-3.505), (21.065,-3.695,21.255,-3.505), (21.945,-3.695,22.135,-3.505), (25.36,-3.695,25.55,-3.505), (28.265,-3.695,28.455,-3.505), (29.145,-3.695,29.335,-3.505), (32.56,-3.695,32.75,-3.505), (35.465,-3.695,35.655,-3.505), (36.345,-3.695,36.535,-3.505), (0.345,3.505,0.535,3.695), (6.665,3.505,6.855,3.695), (7.545,3.505,7.735,3.695), (10.96,3.505,11.15,3.695), (13.865,3.505,14.055,3.695), (14.745,3.505,14.935,3.695), (18.16,3.505,18.35,3.695), (21.065,3.505,21.255,3.695), (21.945,3.505,22.135,3.695), (25.36,3.505,25.55,3.695), (28.265,3.505,28.455,3.695), (29.145,3.505,29.335,3.695), (32.56,3.505,32.75,3.695), (35.465,3.505,35.655,3.695), (36.345,3.505,36.535,3.695), (43.105,4.595,43.295,4.785), (46.705,5.095,46.895,5.285), (6.665,5.505,6.855,5.695), (10.96,5.505,11.15,5.695), (13.865,5.505,14.055,5.695), (18.16,5.505,18.35,5.695), (21.065,5.505,21.255,5.695), (25.36,5.505,25.55,5.695), (28.265,5.505,28.455,5.695), (32.56,5.505,32.75,5.695), (35.465,5.505,35.655,5.695), (39.76,5.505,39.95,5.695), (-0.095,7.905,0.095,8.095), (0.345,7.905,0.535,8.095), (7.105,7.905,7.295,8.095), (7.545,7.905,7.735,8.095), (10.705,7.905,10.895,8.095), (14.305,7.905,14.495,8.095), (14.745,7.905,14.935,8.095), (17.905,7.905,18.095,8.095), (21.505,7.905,21.695,8.095), (21.945,7.905,22.135,8.095), (25.105,7.905,25.295,8.095), (28.705,7.905,28.895,8.095), (29.145,7.905,29.335,8.095), (32.305,7.905,32.495,8.095), (35.905,7.905,36.095,8.095), (36.345,7.905,36.535,8.095), (39.505,7.905,39.695,8.095), (43.23,7.905,43.42,8.095), (46.83,7.905,47.02,8.095)])
A(ring_oscillator, Metal4, -0.1, -7.85, 0.2, 3.01, 3, 1, 3.6, 0)
A(ring_oscillator, Metal4, 0.34, -7.85, 0.2, 4.1, 3, 1, 3.6, 0)
A(ring_oscillator, Metal4, 10.7, -7.85, 0.2, 3.26, 5, 1, 7.2, 0)
A(ring_oscillator, Metal4, 14.3, -7.85, 0.2, 3.01, 4, 1, 7.2, 0)
A(ring_oscillator, Metal4, 14.74, -7.85, 0.2, 4.1, 4, 1, 7.2, 0)
A(ring_oscillator, Metal4, -0.15, -4.84, 0.3, 0.3, 3, 1, 3.6, 0)
A(ring_oscillator, Metal4, 14.25, -4.84, 0.3, 0.3, 4, 1, 7.2, 0)
A(ring_oscillator, Metal4, 10.65, -4.59, 0.3, 0.3, 5, 2, 7.2, 9.13)
A(ring_oscillator, Metal4, 39.705, -3.75, 0.3, 0.3, 3, 2, 3.6, 7.2)
A(ring_oscillator, Metal4, -0.15, 1.86, 0.3, 0.3, 6, 1, 7.2, 0)
A(ring_oscillator, Metal4, -0.1, 2.16, 0.2, 5.69, 6, 1, 7.2, 0)
A(ring_oscillator, Metal4, 0.34, 3.75, 0.2, 4.1, 6, 1, 7.2, 0)
A(ring_oscillator, Metal4, 10.7, 4.84, 0.2, 3.01, 5, 1, 7.2, 0)
R(ring_oscillator, Metal4, [(-0.15,-8.15,0.15,-7.85), (0.29,-8.15,0.59,-7.85), (3.45,-8.15,3.75,-7.85), (3.89,-8.15,4.19,-7.85), (7.05,-8.15,7.35,-7.85), (7.49,-8.15,7.79,-7.85), (10.65,-8.15,10.95,-7.85), (14.25,-8.15,14.55,-7.85), (14.69,-8.15,14.99,-7.85), (17.85,-8.15,18.15,-7.85), (21.45,-8.15,21.75,-7.85), (21.89,-8.15,22.19,-7.85), (25.05,-8.15,25.35,-7.85), (28.65,-8.15,28.95,-7.85), (29.09,-8.15,29.39,-7.85), (32.25,-8.15,32.55,-7.85), (35.85,-8.15,36.15,-7.85), (36.29,-8.15,36.59,-7.85), (39.45,-8.15,39.75,-7.85), (43.05,-8.15,43.605,-7.85), (46.65,-8.15,47.205,-7.85), (43.1,-7.85,43.3,-4.59), (43.355,-7.85,43.555,-3.75), (46.7,-7.85,46.9,-4.84), (46.955,-7.85,47.155,-3.75), (6.61,-5.75,6.91,-5.45), (10.905,-5.75,11.205,-5.45), (13.81,-5.75,14.11,-5.45), (18.105,-5.75,18.405,-5.45), (21.01,-5.75,21.31,-5.45), (25.305,-5.75,25.605,-5.45), (28.21,-5.75,28.51,-5.45), (32.505,-5.75,32.805,-5.45), (35.41,-5.75,35.71,-5.45), (39.705,-5.75,40.005,-5.45), (6.66,-5.45,6.86,-3.75), (10.955,-5.45,11.155,-3.75), (13.86,-5.45,14.06,-3.75), (18.155,-5.45,18.355,-3.75), (21.06,-5.45,21.26,-3.75), (25.355,-5.45,25.555,-3.75), (28.26,-5.45,28.46,-3.75), (32.555,-5.45,32.755,-3.75), (35.46,-5.45,35.66,-3.75), (39.755,-5.45,39.955,-3.75), (46.65,-4.84,46.95,-4.54), (43.05,-4.59,43.35,-4.29), (0.29,-3.75,0.59,-3.45), (3.89,-3.75,4.19,-3.45), (6.61,-3.75,6.91,-3.45), (7.49,-3.75,7.79,-3.45), (10.905,-3.75,11.205,-3.45), (13.81,-3.75,14.11,-3.45), (14.69,-3.75,14.99,-3.45), (18.105,-3.75,18.405,-3.45), (21.01,-3.75,21.31,-3.45), (21.89,-3.75,22.19,-3.45), (25.305,-3.75,25.605,-3.45), (28.21,-3.75,28.51,-3.45), (29.09,-3.75,29.39,-3.45), (32.505,-3.75,32.805,-3.45), (35.41,-3.75,35.71,-3.45), (36.29,-3.75,36.59,-3.45), (0.29,3.45,0.59,3.75), (6.61,3.45,6.91,3.75), (7.49,3.45,7.79,3.75), (10.905,3.45,11.205,3.75), (13.81,3.45,14.11,3.75), (14.69,3.45,14.99,3.75), (18.105,3.45,18.405,3.75), (21.01,3.45,21.31,3.75), (21.89,3.45,22.19,3.75), (25.305,3.45,25.605,3.75), (28.21,3.45,28.51,3.75), (29.09,3.45,29.39,3.75), (32.505,3.45,32.805,3.75), (35.41,3.45,35.71,3.75), (36.29,3.45,36.59,3.75), (6.66,3.75,6.86,5.45), (10.955,3.75,11.155,5.45), (13.86,3.75,14.06,5.45), (18.155,3.75,18.355,5.45), (21.06,3.75,21.26,5.45), (25.355,3.75,25.555,5.45), (28.26,3.75,28.46,5.45), (32.555,3.75,32.755,5.45), (35.46,3.75,35.66,5.45), (39.755,3.75,39.955,5.45), (43.355,3.75,43.555,7.85), (46.955,3.75,47.155,7.85), (43.05,4.54,43.35,4.84), (43.1,4.84,43.3,7.85), (46.65,5.04,46.95,5.34), (46.7,5.34,46.9,7.85), (6.61,5.45,6.91,5.75), (10.905,5.45,11.205,5.75), (13.81,5.45,14.11,5.75), (18.105,5.45,18.405,5.75), (21.01,5.45,21.31,5.75), (25.305,5.45,25.605,5.75), (28.21,5.45,28.51,5.75), (32.505,5.45,32.805,5.75), (35.41,5.45,35.71,5.75), (39.705,5.45,40.005,5.75), (-0.15,7.85,0.15,8.15), (0.29,7.85,0.59,8.15), (7.05,7.85,7.35,8.15), (7.49,7.85,7.79,8.15), (10.65,7.85,10.95,8.15), (14.25,7.85,14.55,8.15), (14.69,7.85,14.99,8.15), (17.85,7.85,18.15,8.15), (21.45,7.85,21.75,8.15), (21.89,7.85,22.19,8.15), (25.05,7.85,25.35,8.15), (28.65,7.85,28.95,8.15), (29.09,7.85,29.39,8.15), (32.25,7.85,32.55,8.15), (35.85,7.85,36.15,8.15), (36.29,7.85,36.59,8.15), (39.45,7.85,39.75,8.15), (43.05,7.85,43.605,8.15), (46.65,7.85,47.205,8.15)])
ring_oscillator.add(gdstk.Reference(sg13_lv_nmos_9r8nqu, (0,-3.6)))
ring_oscillator.add(gdstk.Reference(sg13_lv_nmos_9r8nqu, (3.6,-3.6)))
ring_oscillator.add(gdstk.Reference(sg13_lv_nmos_9r8nqu, (7.2,-3.6)))
ring_oscillator.add(gdstk.Reference(sg13_lv_nmos_gclu96, (10.8,-3.6)))
ring_oscillator.add(gdstk.Reference(sg13_lv_nmos_9r8nqu, (14.4,-3.6)))
ring_oscillator.add(gdstk.Reference(sg13_lv_nmos_gclu96, (18,-3.6)))
ring_oscillator.add(gdstk.Reference(sg13_lv_nmos_9r8nqu, (21.6,-3.6)))
ring_oscillator.add(gdstk.Reference(sg13_lv_nmos_gclu96, (32.4,-3.6)))
ring_oscillator.add(gdstk.Reference(sg13_lv_nmos_9r8nqu, (28.8,-3.6)))
ring_oscillator.add(gdstk.Reference(sg13_lv_nmos_gclu96, (25.2,-3.6)))
ring_oscillator.add(gdstk.Reference(sg13_lv_nmos_gclu96, (39.6,-3.6)))
ring_oscillator.add(gdstk.Reference(sg13_lv_nmos_9r8nqu, (36,-3.6)))
ring_oscillator.add(gdstk.Reference(sg13_lv_nmos_5a8msm, (46.8,-3.6)))
ring_oscillator.add(gdstk.Reference(sg13_lv_nmos_gclu96, (43.2,-3.6)))
ring_oscillator.add(gdstk.Reference(sg13_lv_pmos_65lepc, (0,3.6)))
ring_oscillator.add(gdstk.Reference(sg13_lv_pmos_65lepc, (7.2,3.6)))
ring_oscillator.add(gdstk.Reference(sg13_lv_pmos_2m8tcd, (10.8,3.6), x_reflection=True))
ring_oscillator.add(gdstk.Reference(sg13_lv_pmos_65lepc, (14.4,3.6)))
ring_oscillator.add(gdstk.Reference(sg13_lv_pmos_2m8tcd, (18,3.6), x_reflection=True))
ring_oscillator.add(gdstk.Reference(sg13_lv_pmos_65lepc, (21.6,3.6)))
ring_oscillator.add(gdstk.Reference(sg13_lv_pmos_2m8tcd, (32.4,3.6), x_reflection=True))
ring_oscillator.add(gdstk.Reference(sg13_lv_pmos_65lepc, (28.8,3.6)))
ring_oscillator.add(gdstk.Reference(sg13_lv_pmos_2m8tcd, (25.2,3.6), x_reflection=True))
ring_oscillator.add(gdstk.Reference(sg13_lv_pmos_2m8tcd, (39.6,3.6), x_reflection=True))
ring_oscillator.add(gdstk.Reference(sg13_lv_pmos_65lepc, (36,3.6)))
ring_oscillator.add(gdstk.Reference(sg13_lv_pmos_nc374q, (46.8,3.6), x_reflection=True))
ring_oscillator.add(gdstk.Reference(sg13_lv_pmos_2m8tcd, (43.2,3.6), x_reflection=True))
ring_oscillator.add(gdstk.Label('n1', (9.44,0), layer=10, texttype=25))
ring_oscillator.add(gdstk.Label('n2', (16.65,0.7), layer=10, texttype=25))
ring_oscillator.add(gdstk.Label('n3', (23.85,0), layer=10, texttype=25))
ring_oscillator.add(gdstk.Label('n4', (31.04,0.7), layer=10, texttype=25))
ring_oscillator.add(gdstk.Label('n5', (11,-0.7), layer=10, texttype=25))
ring_oscillator.add(gdstk.Label('b1', (41.85,0), layer=10, texttype=25))
ring_oscillator.add(gdstk.Label('VDD', (0.44,8), layer=50, texttype=25))
ring_oscillator.add(gdstk.Label('VSS', (0.44,-8), layer=50, texttype=25))
ring_oscillator.add(gdstk.Label('ibias', (-0.44,-4), layer=30, texttype=25))
ring_oscillator.add(gdstk.Label('clk', (45.25,0.7), layer=30, texttype=25))

lib.write_gds('ring_oscillator.gds')
